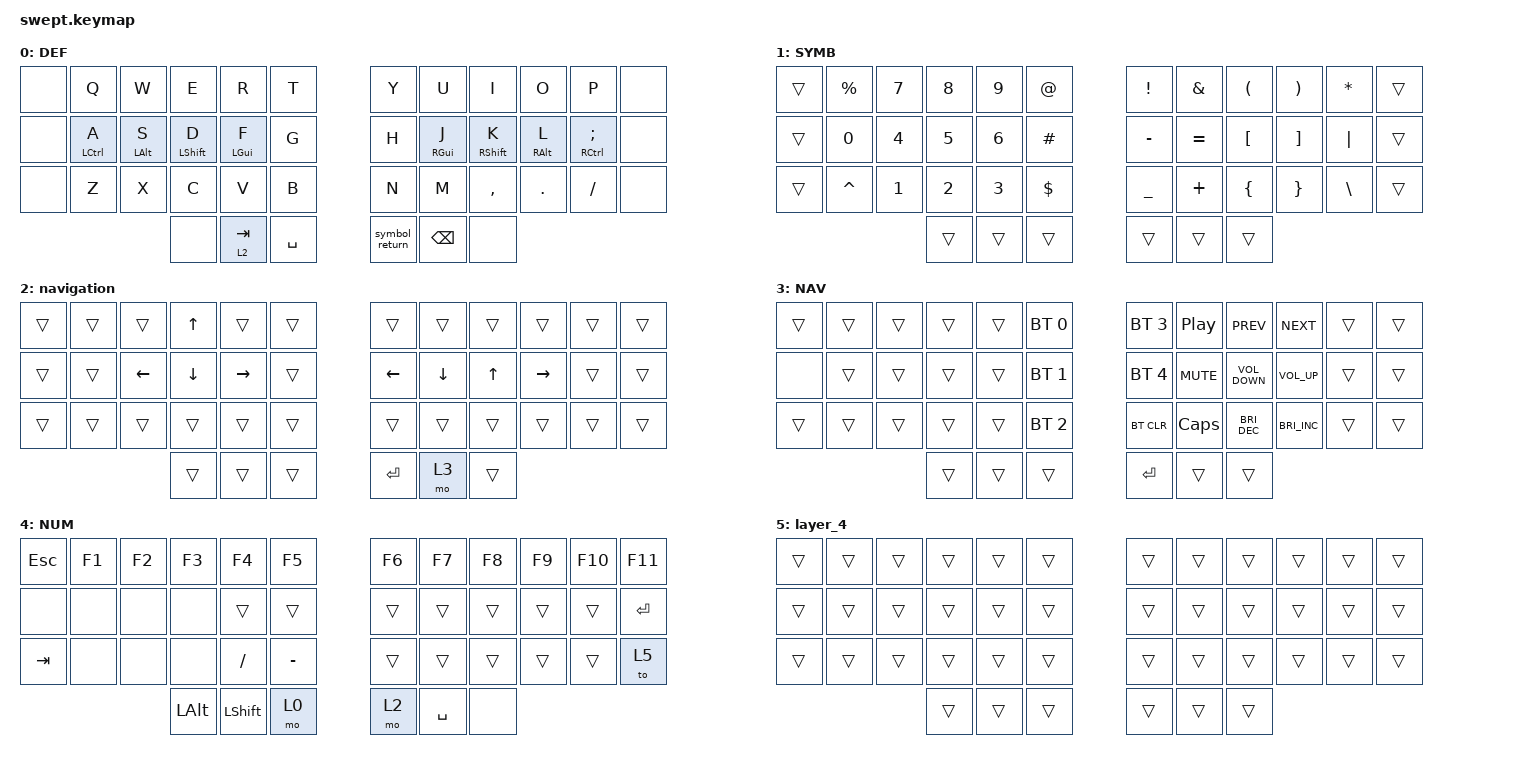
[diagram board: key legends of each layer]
#include "common_keymap.dtsi"
#include <behaviors.dtsi>
#include <dt-bindings/zmk/bt.h>
#include <dt-bindings/zmk/keys.h>

#define DEFAULT_L 0
#define SYMBOLS_L 1
#define ARROWS_L  2
#define NUMBERS_L 3

/ {
    behaviors {
        hm: homerow_mods {
            compatible = "zmk,behavior-hold-tap";
            label = "HOMEROW_MODS";
            #binding-cells = <2>;
            tapping-term-ms = <300>;
            quick-tap-ms = <200>;
            flavor = "tap-preferred";
            bindings = <&kp>, <&kp>;
        };

        symbol_return: symbol_return {
            compatible = "zmk,behavior-tap-dance";
            label = "SYMBOL_RETURN";
            #binding-cells = <0>;
            bindings = <&mo 1>, <&kp ENTER>;
        };

        DANG_HRM: DANG_HRM {
            compatible = "zmk,behavior-hold-tap";
            label = "DANG_HRM";
            bindings = <&kp>, <&kp>;

            #binding-cells = <2>;
            tapping-term-ms = <200>;
            quick-tap-ms = <150>;
            flavor = "tap-preferred";
        };
    };

    combos {
        compatible = "zmk,combos";

        single_quote {
            bindings = <&kp SINGLE_QUOTE>;
            key-positions = <19 20>;
        };

        double_quote {
            bindings = <&kp DOUBLE_QUOTES>;
            key-positions = <7 8>;
        };

        escape {
            bindings = <&kp ESC>;
            key-positions = <15 14>;
        };

        grave {
            bindings = <&kp GRAVE>;
            key-positions = <15 16>;
        };

        tilde {
            bindings = <&kp TILDE>;
            key-positions = <3 4>;
        };

        caps_word {
            bindings = <&caps_word>;
            key-positions = <26 27>;
        };

        Homerow {
            bindings = <&kp LS(LG(SPACE))>;
            key-positions = <21 20>;
        };
    };

    keymap {
        compatible = "zmk,keymap";

        default_layer {
            label = "DEF";
            bindings = <
&none  &kp Q                     &kp W                 &kp E                   &kp R                 &kp T        &kp Y           &kp U                  &kp I                    &kp O                  &kp P                      &none
&none  &DANG_HRM LEFT_CONTROL A  &DANG_HRM LEFT_ALT S  &DANG_HRM LEFT_SHIFT D  &DANG_HRM LEFT_GUI F  &kp G        &kp H           &DANG_HRM RIGHT_GUI J  &DANG_HRM RIGHT_SHIFT K  &DANG_HRM RIGHT_ALT L  &DANG_HRM RCTRL SEMICOLON  &none
&none  &kp Z                     &kp X                 &kp C                   &kp V                 &kp B        &kp N           &kp M                  &kp COMMA                &kp DOT                &kp SLASH                  &none
                                                       &none                   &lt 2 TAB             &kp SPACE    &symbol_return  &kp BACKSPACE          &none
            >;
        };

        symbols_layer {
            label = "SYMB";
            bindings = <
&trans  &kp PERCENT  &kp N7        &kp N8        &kp N9        &kp AT_SIGN    &kp EXCLAMATION  &kp AMPERSAND  &kp LEFT_PARENTHESIS  &kp RIGHT_PARENTHESIS  &kp ASTERISK   &trans
&trans  &kp N0       &kp NUMBER_4  &kp N5        &kp NUMBER_6  &kp HASH       &kp MINUS        &kp EQUAL      &kp LEFT_BRACKET      &kp RIGHT_BRACKET      &kp PIPE       &trans
&trans  &kp CARET    &kp NUMBER_1  &kp NUMBER_2  &kp NUMBER_3  &kp DOLLAR     &kp UNDERSCORE   &kp PLUS       &kp LEFT_BRACE        &kp RIGHT_BRACE        &kp BACKSLASH  &trans
                                   &trans        &trans        &trans         &trans           &trans         &trans
            >;
        };

        navigation {
            bindings = <
&trans  &trans  &trans    &kp UP_ARROW    &trans     &trans    &trans          &trans          &trans        &trans     &trans  &trans
&trans  &trans  &kp LEFT  &kp DOWN_ARROW  &kp RIGHT  &trans    &kp LEFT_ARROW  &kp DOWN_ARROW  &kp UP_ARROW  &kp RIGHT  &trans  &trans
&trans  &trans  &trans    &trans          &trans     &trans    &trans          &trans          &trans        &trans     &trans  &trans
                          &trans          &trans     &trans    &kp ENTER       &mo 3           &trans
            >;
        };

        FNC {
            label = "NAV";
            bindings = <
&trans  &trans  &trans  &trans  &trans  &bt BT_SEL 0    &bt BT_SEL 3  &kp C_PP    &kp C_PREV         &kp C_NEXT            &trans  &trans
&none   &trans  &trans  &trans  &trans  &bt BT_SEL 1    &bt BT_SEL 4  &kp K_MUTE  &kp C_VOLUME_DOWN  &kp C_VOLUME_UP       &trans  &trans
&trans  &trans  &trans  &trans  &trans  &bt BT_SEL 2    &bt BT_CLR    &kp CAPS    &kp C_BRI_DEC      &kp C_BRIGHTNESS_INC  &trans  &trans
                        &trans  &trans  &trans          &kp ENTER     &trans      &trans
            >;
        };

        numbers_layer {
            label = "NUM";
            bindings = <
&kp ESC  &kp F1  &kp F2  &kp F3        &kp F4     &kp F5       &kp F6  &kp F7     &kp F8  &kp F9  &kp F10  &kp F11
&none    &none   &none   &none         &trans     &trans       &trans  &trans     &trans  &trans  &trans   &kp RET
&kp TAB  &none   &none   &none         &kp FSLH   &kp MINUS    &trans  &trans     &trans  &trans  &trans   &to 5
                         &kp LEFT_ALT  &kp LSHFT  &mo 0        &mo 2   &kp SPACE  &none
            >;
        };

        layer_4 {
            bindings = <
&trans  &trans  &trans  &trans  &trans  &trans    &trans  &trans  &trans  &trans  &trans  &trans
&trans  &trans  &trans  &trans  &trans  &trans    &trans  &trans  &trans  &trans  &trans  &trans
&trans  &trans  &trans  &trans  &trans  &trans    &trans  &trans  &trans  &trans  &trans  &trans
                        &trans  &trans  &trans    &trans  &trans  &trans
            >;
        };
    };
};
